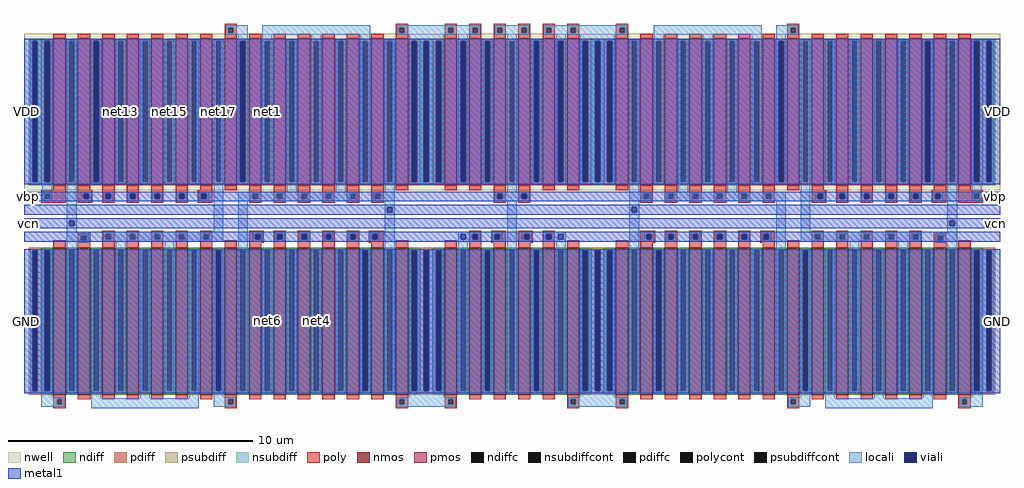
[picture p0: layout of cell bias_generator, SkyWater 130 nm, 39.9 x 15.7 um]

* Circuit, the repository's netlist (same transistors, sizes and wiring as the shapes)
* SPICE3 file created from bias_generator.ext - technology: sky130A


* Top level circuit bias_generator

X0 VDD vbp vbp VDD sky130_fd_pr__pfet_01v8 ad=4.2e+13p pd=1.82e+08u as=3e+12p ps=1.3e+07u w=6e+06u l=500000u
X1 vcn vbp VDD VDD sky130_fd_pr__pfet_01v8 ad=6e+12p pd=2.6e+07u as=0p ps=0u w=6e+06u l=500000u
X2 net5 vbn net6 GND sky130_fd_pr__nfet_01v8 ad=3e+12p pd=1.3e+07u as=3e+12p ps=1.3e+07u w=6e+06u l=500000u
X3 net13 vbp VDD VDD sky130_fd_pr__pfet_01v8 ad=3e+12p pd=1.3e+07u as=0p ps=0u w=6e+06u l=500000u
X4 a_4700_1620# vcp vcp VDD sky130_fd_pr__pfet_01v8 ad=9e+12p pd=3.9e+07u as=6e+12p ps=2.6e+07u w=6e+06u l=500000u
X5 GND vbn net3 GND sky130_fd_pr__nfet_01v8 ad=3.6e+13p pd=1.56e+08u as=3e+12p ps=1.3e+07u w=6e+06u l=500000u
X6 a_4900_n90# vbn GND GND sky130_fd_pr__nfet_01v8 ad=3e+12p pd=1.3e+07u as=0p ps=0u w=6e+06u l=500000u
X7 a_5500_n90# vbn a_5300_n90# GND sky130_fd_pr__nfet_01v8 ad=3e+12p pd=1.3e+07u as=3e+12p ps=1.3e+07u w=6e+06u l=500000u
X8 VDD a_4800_1480# a_4700_1620# VDD sky130_fd_pr__pfet_01v8 ad=0p pd=0u as=0p ps=0u w=6e+06u l=500000u
X9 a_6100_n90# a_5900_1620# GND GND sky130_fd_pr__nfet_01v8 ad=9e+12p pd=3.9e+07u as=0p ps=0u w=6e+06u l=500000u
X10 a_6700_1620# vbp a_6500_1620# VDD sky130_fd_pr__pfet_01v8 ad=3e+12p pd=1.3e+07u as=3e+12p ps=1.3e+07u w=6e+06u l=500000u
X11 net1 net2 VDD VDD sky130_fd_pr__pfet_01v8 ad=9e+12p pd=3.9e+07u as=0p ps=0u w=6e+06u l=500000u
X12 net2 GND GND GND sky130_fd_pr__nfet_01v8 ad=3e+12p pd=1.3e+07u as=0p ps=0u w=6e+06u l=500000u
X13 vbn vbn GND GND sky130_fd_pr__nfet_01v8 ad=6e+12p pd=2.6e+07u as=0p ps=0u w=6e+06u l=500000u
X14 vcp vcp net1 VDD sky130_fd_pr__pfet_01v8 ad=0p pd=0u as=0p ps=0u w=6e+06u l=500000u
X15 vcp GND GND GND sky130_fd_pr__nfet_01v8 ad=6e+12p pd=2.6e+07u as=0p ps=0u w=6e+06u l=500000u
X16 a_5100_n90# vbn a_4900_n90# GND sky130_fd_pr__nfet_01v8 ad=3e+12p pd=1.3e+07u as=0p ps=0u w=6e+06u l=500000u
X17 net24 vbp net15 VDD sky130_fd_pr__pfet_01v8 ad=3e+12p pd=1.3e+07u as=3e+12p ps=1.3e+07u w=6e+06u l=500000u
X18 vbp vbp VDD VDD sky130_fd_pr__pfet_01v8 ad=0p pd=0u as=0p ps=0u w=6e+06u l=500000u
X19 vcn VDD VDD VDD sky130_fd_pr__pfet_01v8 ad=0p pd=0u as=0p ps=0u w=6e+06u l=500000u
X20 vcp VDD VDD VDD sky130_fd_pr__pfet_01v8 ad=0p pd=0u as=0p ps=0u w=6e+06u l=500000u
X21 vbp vbn GND GND sky130_fd_pr__nfet_01v8 ad=3e+12p pd=1.3e+07u as=0p ps=0u w=6e+06u l=500000u
X22 a_4700_1620# a_4800_1480# a_4800_1480# VDD sky130_fd_pr__pfet_01v8 ad=0p pd=0u as=6e+12p ps=2.6e+07u w=6e+06u l=500000u
X23 net17 net17 a_100_n90# GND sky130_fd_pr__nfet_01v8 ad=6e+12p pd=2.6e+07u as=9e+12p ps=3.9e+07u w=6e+06u l=500000u
X24 GND GND vbn GND sky130_fd_pr__nfet_01v8 ad=0p pd=0u as=0p ps=0u w=6e+06u l=500000u
X25 a_5900_1620# a_5900_1620# a_6100_n90# GND sky130_fd_pr__nfet_01v8 ad=6e+12p pd=2.6e+07u as=0p ps=0u w=6e+06u l=500000u
X26 a_6500_1620# vbp a_6300_1620# VDD sky130_fd_pr__pfet_01v8 ad=0p pd=0u as=3e+12p ps=1.3e+07u w=6e+06u l=500000u
X27 GND GND vcn GND sky130_fd_pr__nfet_01v8 ad=0p pd=0u as=6e+12p ps=2.6e+07u w=6e+06u l=500000u
X28 VDD vbp vcn VDD sky130_fd_pr__pfet_01v8 ad=0p pd=0u as=0p ps=0u w=6e+06u l=500000u
X29 VDD VDD net17 VDD sky130_fd_pr__pfet_01v8 ad=0p pd=0u as=3e+12p ps=1.3e+07u w=6e+06u l=500000u
X30 net4 vbn net5 GND sky130_fd_pr__nfet_01v8 ad=3e+12p pd=1.3e+07u as=0p ps=0u w=6e+06u l=500000u
X31 net1 net2 net2 VDD sky130_fd_pr__pfet_01v8 ad=0p pd=0u as=6e+12p ps=2.6e+07u w=6e+06u l=500000u
X32 vcp vbn GND GND sky130_fd_pr__nfet_01v8 ad=0p pd=0u as=0p ps=0u w=6e+06u l=500000u
X33 vbn GND GND GND sky130_fd_pr__nfet_01v8 ad=0p pd=0u as=0p ps=0u w=6e+06u l=500000u
X34 a_4800_1480# vbn a_5500_n90# GND sky130_fd_pr__nfet_01v8 ad=3e+12p pd=1.3e+07u as=0p ps=0u w=6e+06u l=500000u
X35 VDD VDD VDD VDD sky130_fd_pr__pfet_01v8 ad=0p pd=0u as=0p ps=0u w=6e+06u l=500000u
X36 net17 net17 a_100_n90# GND sky130_fd_pr__nfet_01v8 ad=0p pd=0u as=0p ps=0u w=6e+06u l=500000u
X37 a_5900_1620# a_5900_1620# a_6100_n90# GND sky130_fd_pr__nfet_01v8 ad=0p pd=0u as=0p ps=0u w=6e+06u l=500000u
X38 net15 vbp net14 VDD sky130_fd_pr__pfet_01v8 ad=0p pd=0u as=3e+12p ps=1.3e+07u w=6e+06u l=500000u
X39 net6 vbn net2 GND sky130_fd_pr__nfet_01v8 ad=0p pd=0u as=0p ps=0u w=6e+06u l=500000u
X40 a_4800_1480# a_4800_1480# a_4700_1620# VDD sky130_fd_pr__pfet_01v8 ad=0p pd=0u as=0p ps=0u w=6e+06u l=500000u
X41 net3 vbn net4 GND sky130_fd_pr__nfet_01v8 ad=0p pd=0u as=0p ps=0u w=6e+06u l=500000u
X42 GND vbn vcp GND sky130_fd_pr__nfet_01v8 ad=0p pd=0u as=0p ps=0u w=6e+06u l=500000u
X43 net1 net2 net2 VDD sky130_fd_pr__pfet_01v8 ad=0p pd=0u as=0p ps=0u w=6e+06u l=500000u
X44 a_5300_n90# vbn a_5100_n90# GND sky130_fd_pr__nfet_01v8 ad=0p pd=0u as=0p ps=0u w=6e+06u l=500000u
X45 net17 vbp net24 VDD sky130_fd_pr__pfet_01v8 ad=0p pd=0u as=0p ps=0u w=6e+06u l=500000u
X46 a_6300_1620# vbp a_6100_1620# VDD sky130_fd_pr__pfet_01v8 ad=0p pd=0u as=3e+12p ps=1.3e+07u w=6e+06u l=500000u
X47 a_100_n90# vcn vcn GND sky130_fd_pr__nfet_01v8 ad=0p pd=0u as=0p ps=0u w=6e+06u l=500000u
X48 VDD VDD vcn VDD sky130_fd_pr__pfet_01v8 ad=0p pd=0u as=0p ps=0u w=6e+06u l=500000u
X49 net2 net2 net1 VDD sky130_fd_pr__pfet_01v8 ad=0p pd=0u as=0p ps=0u w=6e+06u l=500000u
X50 VDD VDD VDD VDD sky130_fd_pr__pfet_01v8 ad=0p pd=0u as=0p ps=0u w=6e+06u l=500000u
X51 GND net17 a_100_n90# GND sky130_fd_pr__nfet_01v8 ad=0p pd=0u as=0p ps=0u w=6e+06u l=500000u
X52 GND vbn vbp GND sky130_fd_pr__nfet_01v8 ad=0p pd=0u as=0p ps=0u w=6e+06u l=500000u
X53 VDD VDD VDD VDD sky130_fd_pr__pfet_01v8 ad=0p pd=0u as=0p ps=0u w=6e+06u l=500000u
X54 a_100_n90# net17 net17 GND sky130_fd_pr__nfet_01v8 ad=0p pd=0u as=0p ps=0u w=6e+06u l=500000u
X55 a_6100_n90# a_5900_1620# a_5900_1620# GND sky130_fd_pr__nfet_01v8 ad=0p pd=0u as=0p ps=0u w=6e+06u l=500000u
X56 net14 vbp net13 VDD sky130_fd_pr__pfet_01v8 ad=0p pd=0u as=0p ps=0u w=6e+06u l=500000u
X57 a_4800_1480# a_4800_1480# a_4700_1620# VDD sky130_fd_pr__pfet_01v8 ad=0p pd=0u as=0p ps=0u w=6e+06u l=500000u
X58 VDD VDD VDD VDD sky130_fd_pr__pfet_01v8 ad=0p pd=0u as=0p ps=0u w=6e+06u l=500000u
X59 a_5900_1620# VDD VDD VDD sky130_fd_pr__pfet_01v8 ad=3e+12p pd=1.3e+07u as=0p ps=0u w=6e+06u l=500000u
X60 vcn GND GND GND sky130_fd_pr__nfet_01v8 ad=0p pd=0u as=0p ps=0u w=6e+06u l=500000u
X61 a_4700_1620# a_4800_1480# a_4800_1480# VDD sky130_fd_pr__pfet_01v8 ad=0p pd=0u as=0p ps=0u w=6e+06u l=500000u
X62 net2 net2 net1 VDD sky130_fd_pr__pfet_01v8 ad=0p pd=0u as=0p ps=0u w=6e+06u l=500000u
X63 VDD vbp a_6700_1620# VDD sky130_fd_pr__pfet_01v8 ad=0p pd=0u as=0p ps=0u w=6e+06u l=500000u
X64 GND GND vcp GND sky130_fd_pr__nfet_01v8 ad=0p pd=0u as=0p ps=0u w=6e+06u l=500000u
X65 GND vbn vbn GND sky130_fd_pr__nfet_01v8 ad=0p pd=0u as=0p ps=0u w=6e+06u l=500000u
X66 a_6100_1620# vbp a_5900_1620# VDD sky130_fd_pr__pfet_01v8 ad=0p pd=0u as=0p ps=0u w=6e+06u l=500000u
X67 a_100_n90# net17 net17 GND sky130_fd_pr__nfet_01v8 ad=0p pd=0u as=0p ps=0u w=6e+06u l=500000u
X68 GND GND a_4800_1480# GND sky130_fd_pr__nfet_01v8 ad=0p pd=0u as=0p ps=0u w=6e+06u l=500000u
X69 a_6100_n90# a_5900_1620# a_5900_1620# GND sky130_fd_pr__nfet_01v8 ad=0p pd=0u as=0p ps=0u w=6e+06u l=500000u
X70 VDD VDD vcp VDD sky130_fd_pr__pfet_01v8 ad=0p pd=0u as=0p ps=0u w=6e+06u l=500000u
X71 vcn vcn a_6100_n90# GND sky130_fd_pr__nfet_01v8 ad=0p pd=0u as=0p ps=0u w=6e+06u l=500000u
.end

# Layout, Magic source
magic
tech sky130A
<< nwell >>
rect -220 790 3770 1430
<< nmos >>
rect -100 -45 -50 555
rect 0 -45 50 555
rect 100 -45 150 555
rect 200 -45 250 555
rect 300 -45 350 555
rect 400 -45 450 555
rect 500 -45 550 555
rect 600 -45 650 555
rect 700 -45 750 555
rect 800 -45 850 555
rect 900 -45 950 555
rect 1000 -45 1050 555
rect 1100 -45 1150 555
rect 1200 -45 1250 555
rect 1300 -45 1350 555
rect 1500 -45 1550 555
rect 1600 -45 1650 555
rect 1700 -45 1750 555
rect 1800 -45 1850 555
rect 1900 -45 1950 555
rect 2000 -45 2050 555
rect 2200 -45 2250 555
rect 2300 -45 2350 555
rect 2400 -45 2450 555
rect 2500 -45 2550 555
rect 2600 -45 2650 555
rect 2700 -45 2750 555
rect 2800 -45 2850 555
rect 2900 -45 2950 555
rect 3000 -45 3050 555
rect 3100 -45 3150 555
rect 3200 -45 3250 555
rect 3300 -45 3350 555
rect 3400 -45 3450 555
rect 3500 -45 3550 555
rect 3600 -45 3650 555
<< pmos >>
rect -100 810 -50 1410
rect 0 810 50 1410
rect 100 810 150 1410
rect 200 810 250 1410
rect 300 810 350 1410
rect 400 810 450 1410
rect 500 810 550 1410
rect 600 810 650 1410
rect 700 810 750 1410
rect 800 810 850 1410
rect 900 810 950 1410
rect 1000 810 1050 1410
rect 1100 810 1150 1410
rect 1200 810 1250 1410
rect 1300 810 1350 1410
rect 1500 810 1550 1410
rect 1600 810 1650 1410
rect 1700 810 1750 1410
rect 1800 810 1850 1410
rect 1900 810 1950 1410
rect 2000 810 2050 1410
rect 2200 810 2250 1410
rect 2300 810 2350 1410
rect 2400 810 2450 1410
rect 2500 810 2550 1410
rect 2600 810 2650 1410
rect 2700 810 2750 1410
rect 2800 810 2850 1410
rect 2900 810 2950 1410
rect 3000 810 3050 1410
rect 3100 810 3150 1410
rect 3200 810 3250 1410
rect 3300 810 3350 1410
rect 3400 810 3450 1410
rect 3500 810 3550 1410
rect 3600 810 3650 1410
<< ndiff >>
rect -150 545 -100 555
rect -150 -30 -135 545
rect -115 -30 -100 545
rect -150 -45 -100 -30
rect -50 545 0 555
rect -50 -30 -35 545
rect -15 -30 0 545
rect -50 -45 0 -30
rect 50 545 100 555
rect 50 -30 65 545
rect 85 -30 100 545
rect 50 -45 100 -30
rect 150 545 200 555
rect 150 -30 165 545
rect 185 -30 200 545
rect 150 -45 200 -30
rect 250 545 300 555
rect 250 -30 265 545
rect 285 -30 300 545
rect 250 -45 300 -30
rect 350 545 400 555
rect 350 -30 365 545
rect 385 -30 400 545
rect 350 -45 400 -30
rect 450 545 500 555
rect 450 -30 465 545
rect 485 -30 500 545
rect 450 -45 500 -30
rect 550 545 600 555
rect 550 -30 565 545
rect 585 -30 600 545
rect 550 -45 600 -30
rect 650 545 700 555
rect 650 -30 665 545
rect 685 -30 700 545
rect 650 -45 700 -30
rect 750 545 800 555
rect 750 -30 765 545
rect 785 -30 800 545
rect 750 -45 800 -30
rect 850 545 900 555
rect 850 -30 865 545
rect 885 -30 900 545
rect 850 -45 900 -30
rect 950 545 1000 555
rect 950 -30 965 545
rect 985 -30 1000 545
rect 950 -45 1000 -30
rect 1050 545 1100 555
rect 1050 -30 1065 545
rect 1085 -30 1100 545
rect 1050 -45 1100 -30
rect 1150 545 1200 555
rect 1150 -30 1165 545
rect 1185 -30 1200 545
rect 1150 -45 1200 -30
rect 1250 545 1300 555
rect 1250 -30 1265 545
rect 1285 -30 1300 545
rect 1250 -45 1300 -30
rect 1350 545 1400 555
rect 1450 545 1500 555
rect 1350 -30 1365 545
rect 1385 -30 1400 545
rect 1450 -30 1465 545
rect 1485 -30 1500 545
rect 1350 -45 1400 -30
rect 1450 -45 1500 -30
rect 1550 545 1600 555
rect 1550 -30 1565 545
rect 1585 -30 1600 545
rect 1550 -45 1600 -30
rect 1650 545 1700 555
rect 1650 -30 1665 545
rect 1685 -30 1700 545
rect 1650 -45 1700 -30
rect 1750 545 1800 555
rect 1750 -30 1765 545
rect 1785 -30 1800 545
rect 1750 -45 1800 -30
rect 1850 545 1900 555
rect 1850 -30 1865 545
rect 1885 -30 1900 545
rect 1850 -45 1900 -30
rect 1950 545 2000 555
rect 1950 -30 1965 545
rect 1985 -30 2000 545
rect 1950 -45 2000 -30
rect 2050 545 2100 555
rect 2150 545 2200 555
rect 2050 -30 2065 545
rect 2085 -30 2100 545
rect 2150 -30 2165 545
rect 2185 -30 2200 545
rect 2050 -45 2100 -30
rect 2150 -45 2200 -30
rect 2250 545 2300 555
rect 2250 -30 2265 545
rect 2285 -30 2300 545
rect 2250 -45 2300 -30
rect 2350 545 2400 555
rect 2350 -30 2365 545
rect 2385 -30 2400 545
rect 2350 -45 2400 -30
rect 2450 545 2500 555
rect 2450 -30 2465 545
rect 2485 -30 2500 545
rect 2450 -45 2500 -30
rect 2550 545 2600 555
rect 2550 -30 2565 545
rect 2585 -30 2600 545
rect 2550 -45 2600 -30
rect 2650 545 2700 555
rect 2650 -30 2665 545
rect 2685 -30 2700 545
rect 2650 -45 2700 -30
rect 2750 545 2800 555
rect 2750 -30 2765 545
rect 2785 -30 2800 545
rect 2750 -45 2800 -30
rect 2850 545 2900 555
rect 2850 -30 2865 545
rect 2885 -30 2900 545
rect 2850 -45 2900 -30
rect 2950 545 3000 555
rect 2950 -30 2965 545
rect 2985 -30 3000 545
rect 2950 -45 3000 -30
rect 3050 545 3100 555
rect 3050 -30 3065 545
rect 3085 -30 3100 545
rect 3050 -45 3100 -30
rect 3150 545 3200 555
rect 3150 -30 3165 545
rect 3185 -30 3200 545
rect 3150 -45 3200 -30
rect 3250 545 3300 555
rect 3250 -30 3265 545
rect 3285 -30 3300 545
rect 3250 -45 3300 -30
rect 3350 545 3400 555
rect 3350 -30 3365 545
rect 3385 -30 3400 545
rect 3350 -45 3400 -30
rect 3450 545 3500 555
rect 3450 -30 3465 545
rect 3485 -30 3500 545
rect 3450 -45 3500 -30
rect 3550 545 3600 555
rect 3550 -30 3565 545
rect 3585 -30 3600 545
rect 3550 -45 3600 -30
rect 3650 545 3700 555
rect 3650 -30 3665 545
rect 3685 -30 3700 545
rect 3650 -45 3700 -30
<< pdiff >>
rect -150 1400 -100 1410
rect -150 825 -135 1400
rect -115 825 -100 1400
rect -150 810 -100 825
rect -50 1400 0 1410
rect -50 825 -35 1400
rect -15 825 0 1400
rect -50 810 0 825
rect 50 1400 100 1410
rect 50 825 65 1400
rect 85 825 100 1400
rect 50 810 100 825
rect 150 1400 200 1410
rect 150 825 165 1400
rect 185 825 200 1400
rect 150 810 200 825
rect 250 1400 300 1410
rect 250 825 265 1400
rect 285 825 300 1400
rect 250 810 300 825
rect 350 1400 400 1410
rect 350 825 365 1400
rect 385 825 400 1400
rect 350 810 400 825
rect 450 1400 500 1410
rect 450 825 465 1400
rect 485 825 500 1400
rect 450 810 500 825
rect 550 1400 600 1410
rect 550 825 565 1400
rect 585 825 600 1400
rect 550 810 600 825
rect 650 1400 700 1410
rect 650 825 665 1400
rect 685 825 700 1400
rect 650 810 700 825
rect 750 1400 800 1410
rect 750 825 765 1400
rect 785 825 800 1400
rect 750 810 800 825
rect 850 1400 900 1410
rect 850 825 865 1400
rect 885 825 900 1400
rect 850 810 900 825
rect 950 1400 1000 1410
rect 950 825 965 1400
rect 985 825 1000 1400
rect 950 810 1000 825
rect 1050 1400 1100 1410
rect 1050 825 1065 1400
rect 1085 825 1100 1400
rect 1050 810 1100 825
rect 1150 1400 1200 1410
rect 1150 825 1165 1400
rect 1185 825 1200 1400
rect 1150 810 1200 825
rect 1250 1400 1300 1410
rect 1250 825 1265 1400
rect 1285 825 1300 1400
rect 1250 810 1300 825
rect 1350 1400 1400 1410
rect 1450 1400 1500 1410
rect 1350 825 1365 1400
rect 1385 825 1400 1400
rect 1450 825 1465 1400
rect 1485 825 1500 1400
rect 1350 810 1400 825
rect 1450 810 1500 825
rect 1550 1400 1600 1410
rect 1550 825 1565 1400
rect 1585 825 1600 1400
rect 1550 810 1600 825
rect 1650 1400 1700 1410
rect 1650 825 1665 1400
rect 1685 825 1700 1400
rect 1650 810 1700 825
rect 1750 1400 1800 1410
rect 1750 825 1765 1400
rect 1785 825 1800 1400
rect 1750 810 1800 825
rect 1850 1400 1900 1410
rect 1850 825 1865 1400
rect 1885 825 1900 1400
rect 1850 810 1900 825
rect 1950 1400 2000 1410
rect 1950 825 1965 1400
rect 1985 825 2000 1400
rect 1950 810 2000 825
rect 2050 1400 2100 1410
rect 2150 1400 2200 1410
rect 2050 825 2065 1400
rect 2085 825 2100 1400
rect 2150 825 2165 1400
rect 2185 825 2200 1400
rect 2050 810 2100 825
rect 2150 810 2200 825
rect 2250 1400 2300 1410
rect 2250 825 2265 1400
rect 2285 825 2300 1400
rect 2250 810 2300 825
rect 2350 1400 2400 1410
rect 2350 825 2365 1400
rect 2385 825 2400 1400
rect 2350 810 2400 825
rect 2450 1400 2500 1410
rect 2450 825 2465 1400
rect 2485 825 2500 1400
rect 2450 810 2500 825
rect 2550 1400 2600 1410
rect 2550 825 2565 1400
rect 2585 825 2600 1400
rect 2550 810 2600 825
rect 2650 1400 2700 1410
rect 2650 825 2665 1400
rect 2685 825 2700 1400
rect 2650 810 2700 825
rect 2750 1400 2800 1410
rect 2750 825 2765 1400
rect 2785 825 2800 1400
rect 2750 810 2800 825
rect 2850 1400 2900 1410
rect 2850 825 2865 1400
rect 2885 825 2900 1400
rect 2850 810 2900 825
rect 2950 1400 3000 1410
rect 2950 825 2965 1400
rect 2985 825 3000 1400
rect 2950 810 3000 825
rect 3050 1400 3100 1410
rect 3050 825 3065 1400
rect 3085 825 3100 1400
rect 3050 810 3100 825
rect 3150 1400 3200 1410
rect 3150 825 3165 1400
rect 3185 825 3200 1400
rect 3150 810 3200 825
rect 3250 1400 3300 1410
rect 3250 825 3265 1400
rect 3285 825 3300 1400
rect 3250 810 3300 825
rect 3350 1400 3400 1410
rect 3350 825 3365 1400
rect 3385 825 3400 1400
rect 3350 810 3400 825
rect 3450 1400 3500 1410
rect 3450 825 3465 1400
rect 3485 825 3500 1400
rect 3450 810 3500 825
rect 3550 1400 3600 1410
rect 3550 825 3565 1400
rect 3585 825 3600 1400
rect 3550 810 3600 825
rect 3650 1400 3700 1410
rect 3650 825 3665 1400
rect 3685 825 3700 1400
rect 3650 810 3700 825
<< ndiffc >>
rect -135 -30 -115 545
rect -35 -30 -15 545
rect 65 -30 85 545
rect 165 -30 185 545
rect 265 -30 285 545
rect 365 -30 385 545
rect 465 -30 485 545
rect 565 -30 585 545
rect 665 -30 685 545
rect 765 -30 785 545
rect 865 -30 885 545
rect 965 -30 985 545
rect 1065 -30 1085 545
rect 1165 -30 1185 545
rect 1265 -30 1285 545
rect 1365 -30 1385 545
rect 1465 -30 1485 545
rect 1565 -30 1585 545
rect 1665 -30 1685 545
rect 1765 -30 1785 545
rect 1865 -30 1885 545
rect 1965 -30 1985 545
rect 2065 -30 2085 545
rect 2165 -30 2185 545
rect 2265 -30 2285 545
rect 2365 -30 2385 545
rect 2465 -30 2485 545
rect 2565 -30 2585 545
rect 2665 -30 2685 545
rect 2765 -30 2785 545
rect 2865 -30 2885 545
rect 2965 -30 2985 545
rect 3065 -30 3085 545
rect 3165 -30 3185 545
rect 3265 -30 3285 545
rect 3365 -30 3385 545
rect 3465 -30 3485 545
rect 3565 -30 3585 545
rect 3665 -30 3685 545
<< pdiffc >>
rect -135 825 -115 1400
rect -35 825 -15 1400
rect 65 825 85 1400
rect 165 825 185 1400
rect 265 825 285 1400
rect 365 825 385 1400
rect 465 825 485 1400
rect 565 825 585 1400
rect 665 825 685 1400
rect 765 825 785 1400
rect 865 825 885 1400
rect 965 825 985 1400
rect 1065 825 1085 1400
rect 1165 825 1185 1400
rect 1265 825 1285 1400
rect 1365 825 1385 1400
rect 1465 825 1485 1400
rect 1565 825 1585 1400
rect 1665 825 1685 1400
rect 1765 825 1785 1400
rect 1865 825 1885 1400
rect 1965 825 1985 1400
rect 2065 825 2085 1400
rect 2165 825 2185 1400
rect 2265 825 2285 1400
rect 2365 825 2385 1400
rect 2465 825 2485 1400
rect 2565 825 2585 1400
rect 2665 825 2685 1400
rect 2765 825 2785 1400
rect 2865 825 2885 1400
rect 2965 825 2985 1400
rect 3065 825 3085 1400
rect 3165 825 3185 1400
rect 3265 825 3285 1400
rect 3365 825 3385 1400
rect 3465 825 3485 1400
rect 3565 825 3585 1400
rect 3665 825 3685 1400
<< psubdiff >>
rect -200 545 -150 555
rect -200 -30 -185 545
rect -165 -30 -150 545
rect -200 -45 -150 -30
rect 1400 545 1450 555
rect 1400 -30 1415 545
rect 1435 -30 1450 545
rect 1400 -45 1450 -30
rect 2100 545 2150 555
rect 2100 -30 2115 545
rect 2135 -30 2150 545
rect 2100 -45 2150 -30
rect 3700 545 3750 555
rect 3700 -30 3715 545
rect 3735 -30 3750 545
rect 3700 -45 3750 -30
<< nsubdiff >>
rect -200 1400 -150 1410
rect -200 825 -185 1400
rect -165 825 -150 1400
rect -200 810 -150 825
rect 1400 1400 1450 1410
rect 1400 825 1415 1400
rect 1435 825 1450 1400
rect 1400 810 1450 825
rect 2100 1400 2150 1410
rect 2100 825 2115 1400
rect 2135 825 2150 1400
rect 2100 810 2150 825
rect 3700 1400 3750 1410
rect 3700 825 3715 1400
rect 3735 825 3750 1400
rect 3700 810 3750 825
<< psubdiffcont >>
rect -185 -30 -165 545
rect 1415 -30 1435 545
rect 2115 -30 2135 545
rect 3715 -30 3735 545
<< nsubdiffcont >>
rect -185 825 -165 1400
rect 1415 825 1435 1400
rect 2115 825 2135 1400
rect 3715 825 3735 1400
<< poly >>
rect 600 1455 650 1470
rect 600 1435 615 1455
rect 635 1435 650 1455
rect -100 1410 -50 1430
rect 0 1410 50 1430
rect 100 1410 150 1430
rect 200 1410 250 1430
rect 300 1410 350 1430
rect 400 1410 450 1430
rect 500 1410 550 1430
rect 600 1410 650 1435
rect 1300 1455 1350 1470
rect 1300 1435 1315 1455
rect 1335 1435 1350 1455
rect 700 1410 750 1430
rect 800 1410 850 1430
rect 900 1410 950 1430
rect 1000 1410 1050 1430
rect 1100 1410 1150 1430
rect 1200 1410 1250 1430
rect 1300 1410 1350 1435
rect 1500 1455 1550 1470
rect 1500 1435 1515 1455
rect 1535 1435 1550 1455
rect 1500 1410 1550 1435
rect 1600 1455 1650 1470
rect 1600 1435 1615 1455
rect 1635 1435 1650 1455
rect 1600 1410 1650 1435
rect 1700 1455 1750 1470
rect 1700 1435 1715 1455
rect 1735 1435 1750 1455
rect 1700 1410 1750 1435
rect 1800 1455 1850 1470
rect 1800 1435 1815 1455
rect 1835 1435 1850 1455
rect 1800 1410 1850 1435
rect 1900 1455 1950 1470
rect 1900 1435 1915 1455
rect 1935 1435 1950 1455
rect 1900 1410 1950 1435
rect 2000 1455 2050 1470
rect 2000 1435 2015 1455
rect 2035 1435 2050 1455
rect 2000 1410 2050 1435
rect 2200 1455 2250 1470
rect 2200 1435 2215 1455
rect 2235 1435 2250 1455
rect 2200 1410 2250 1435
rect 2900 1455 2950 1470
rect 2900 1435 2915 1455
rect 2935 1435 2950 1455
rect 2300 1410 2350 1430
rect 2400 1410 2450 1430
rect 2500 1410 2550 1430
rect 2600 1410 2650 1430
rect 2700 1410 2750 1430
rect 2800 1410 2850 1430
rect 2900 1410 2950 1435
rect 3000 1410 3050 1430
rect 3100 1410 3150 1430
rect 3200 1410 3250 1430
rect 3300 1410 3350 1430
rect 3400 1410 3450 1430
rect 3500 1410 3550 1430
rect 3600 1410 3650 1430
rect -100 790 -50 810
rect -150 775 -50 790
rect -150 755 -135 775
rect -115 755 -50 775
rect -150 740 -50 755
rect 0 790 50 810
rect 0 775 60 790
rect 0 755 25 775
rect 45 755 60 775
rect 0 740 60 755
rect 100 775 150 810
rect 100 755 115 775
rect 135 755 150 775
rect 100 740 150 755
rect 200 775 250 810
rect 200 755 215 775
rect 235 755 250 775
rect 200 740 250 755
rect 300 775 350 810
rect 300 755 315 775
rect 335 755 350 775
rect 300 740 350 755
rect 400 775 450 810
rect 500 790 550 810
rect 600 790 650 810
rect 400 755 415 775
rect 435 755 450 775
rect 400 740 450 755
rect 490 775 550 790
rect 490 755 505 775
rect 525 755 550 775
rect 490 740 550 755
rect 700 775 750 810
rect 700 755 715 775
rect 735 755 750 775
rect 700 740 750 755
rect 800 775 850 810
rect 800 755 815 775
rect 835 755 850 775
rect 800 740 850 755
rect 900 775 950 810
rect 900 755 915 775
rect 935 755 950 775
rect 900 740 950 755
rect 1000 775 1050 810
rect 1000 755 1015 775
rect 1035 755 1050 775
rect 1000 740 1050 755
rect 1100 775 1150 810
rect 1100 755 1115 775
rect 1135 755 1150 775
rect 1100 740 1150 755
rect 1200 775 1250 810
rect 1300 790 1350 810
rect 1500 790 1550 810
rect 1600 790 1650 810
rect 1200 755 1215 775
rect 1235 755 1250 775
rect 1200 740 1250 755
rect 1700 775 1750 810
rect 1700 755 1715 775
rect 1735 755 1750 775
rect 1700 740 1750 755
rect 1800 775 1850 810
rect 1900 790 1950 810
rect 2000 790 2050 810
rect 2200 790 2250 810
rect 1800 755 1815 775
rect 1835 755 1850 775
rect 1800 740 1850 755
rect 2300 775 2350 810
rect 2300 755 2315 775
rect 2335 755 2350 775
rect 2300 740 2350 755
rect 2400 775 2450 810
rect 2400 755 2415 775
rect 2435 755 2450 775
rect 2400 740 2450 755
rect 2500 775 2550 810
rect 2500 755 2515 775
rect 2535 755 2550 775
rect 2500 740 2550 755
rect 2600 775 2650 810
rect 2600 755 2615 775
rect 2635 755 2650 775
rect 2600 740 2650 755
rect 2700 775 2750 810
rect 2700 755 2715 775
rect 2735 755 2750 775
rect 2700 740 2750 755
rect 2800 775 2850 810
rect 2900 790 2950 810
rect 3000 790 3050 810
rect 2800 755 2815 775
rect 2835 755 2850 775
rect 2800 740 2850 755
rect 3000 775 3060 790
rect 3000 755 3025 775
rect 3045 755 3060 775
rect 3000 740 3060 755
rect 3100 775 3150 810
rect 3100 755 3115 775
rect 3135 755 3150 775
rect 3100 740 3150 755
rect 3200 775 3250 810
rect 3200 755 3215 775
rect 3235 755 3250 775
rect 3200 740 3250 755
rect 3300 775 3350 810
rect 3300 755 3315 775
rect 3335 755 3350 775
rect 3300 740 3350 755
rect 3400 775 3450 810
rect 3500 790 3550 810
rect 3400 755 3415 775
rect 3435 755 3450 775
rect 3400 740 3450 755
rect 3490 775 3550 790
rect 3490 755 3505 775
rect 3525 755 3550 775
rect 3490 740 3550 755
rect 3600 790 3650 810
rect 3600 775 3700 790
rect 3600 755 3665 775
rect 3685 755 3700 775
rect 3600 740 3700 755
rect 0 605 50 620
rect 0 585 15 605
rect 35 585 50 605
rect -100 555 -50 585
rect 0 555 50 585
rect 100 610 150 625
rect 100 590 115 610
rect 135 590 150 610
rect 100 555 150 590
rect 200 610 250 625
rect 200 590 215 610
rect 235 590 250 610
rect 200 555 250 590
rect 300 610 350 625
rect 300 590 315 610
rect 335 590 350 610
rect 300 555 350 590
rect 400 610 450 625
rect 400 590 415 610
rect 435 590 450 610
rect 400 555 450 590
rect 500 610 550 625
rect 500 590 515 610
rect 535 590 550 610
rect 500 555 550 590
rect 700 610 760 625
rect 700 590 725 610
rect 745 590 760 610
rect 600 555 650 585
rect 700 575 760 590
rect 800 610 850 625
rect 800 590 815 610
rect 835 590 850 610
rect 700 555 750 575
rect 800 555 850 590
rect 900 610 950 625
rect 900 590 915 610
rect 935 590 950 610
rect 900 555 950 590
rect 1000 610 1050 625
rect 1000 590 1015 610
rect 1035 590 1050 610
rect 1000 555 1050 590
rect 1100 610 1150 625
rect 1100 590 1115 610
rect 1135 590 1150 610
rect 1100 555 1150 590
rect 1190 610 1250 625
rect 1190 590 1205 610
rect 1225 590 1250 610
rect 1190 575 1250 590
rect 1600 610 1650 625
rect 1600 590 1615 610
rect 1635 590 1650 610
rect 1200 555 1250 575
rect 1300 555 1350 585
rect 1500 555 1550 585
rect 1600 555 1650 590
rect 1690 610 1750 625
rect 1690 590 1705 610
rect 1725 590 1750 610
rect 1690 575 1750 590
rect 1700 555 1750 575
rect 1800 610 1860 625
rect 1800 590 1825 610
rect 1845 590 1860 610
rect 1800 575 1860 590
rect 1900 610 1950 625
rect 1900 590 1915 610
rect 1935 590 1950 610
rect 1800 555 1850 575
rect 1900 555 1950 590
rect 2300 610 2360 625
rect 2300 590 2325 610
rect 2345 590 2360 610
rect 2000 555 2050 585
rect 2200 555 2250 585
rect 2300 575 2360 590
rect 2400 610 2450 625
rect 2400 590 2415 610
rect 2435 590 2450 610
rect 2300 555 2350 575
rect 2400 555 2450 590
rect 2500 610 2550 625
rect 2500 590 2515 610
rect 2535 590 2550 610
rect 2500 555 2550 590
rect 2600 610 2650 625
rect 2600 590 2615 610
rect 2635 590 2650 610
rect 2600 555 2650 590
rect 2700 610 2750 625
rect 2700 590 2715 610
rect 2735 590 2750 610
rect 2700 555 2750 590
rect 2790 610 2850 625
rect 2790 590 2805 610
rect 2825 590 2850 610
rect 2790 575 2850 590
rect 3000 610 3050 625
rect 3000 590 3015 610
rect 3035 590 3050 610
rect 2800 555 2850 575
rect 2900 555 2950 585
rect 3000 555 3050 590
rect 3100 610 3150 625
rect 3100 590 3115 610
rect 3135 590 3150 610
rect 3100 555 3150 590
rect 3200 610 3250 625
rect 3200 590 3215 610
rect 3235 590 3250 610
rect 3200 555 3250 590
rect 3300 610 3350 625
rect 3300 590 3315 610
rect 3335 590 3350 610
rect 3300 555 3350 590
rect 3400 610 3450 625
rect 3400 590 3415 610
rect 3435 590 3450 610
rect 3400 555 3450 590
rect 3500 605 3550 620
rect 3500 585 3515 605
rect 3535 585 3550 605
rect 3500 555 3550 585
rect 3600 555 3650 585
rect -100 -65 -50 -45
rect 0 -65 50 -45
rect 100 -65 150 -45
rect 200 -65 250 -45
rect 300 -65 350 -45
rect 400 -65 450 -45
rect 500 -65 550 -45
rect 600 -65 650 -45
rect 700 -65 750 -45
rect 800 -65 850 -45
rect 900 -65 950 -45
rect 1000 -65 1050 -45
rect 1100 -65 1150 -45
rect 1200 -65 1250 -45
rect 1300 -65 1350 -45
rect -100 -85 -85 -65
rect -65 -85 -50 -65
rect -100 -100 -50 -85
rect 600 -85 615 -65
rect 635 -85 650 -65
rect 600 -100 650 -85
rect 1300 -85 1315 -65
rect 1335 -85 1350 -65
rect 1300 -100 1350 -85
rect 1500 -65 1550 -45
rect 1600 -65 1650 -45
rect 1700 -65 1750 -45
rect 1800 -65 1850 -45
rect 1900 -65 1950 -45
rect 2000 -65 2050 -45
rect 1500 -85 1515 -65
rect 1535 -85 1550 -65
rect 1500 -100 1550 -85
rect 2000 -85 2015 -65
rect 2035 -85 2050 -65
rect 2000 -100 2050 -85
rect 2200 -65 2250 -45
rect 2300 -65 2350 -45
rect 2400 -65 2450 -45
rect 2500 -65 2550 -45
rect 2600 -65 2650 -45
rect 2700 -65 2750 -45
rect 2800 -65 2850 -45
rect 2900 -65 2950 -45
rect 3000 -65 3050 -45
rect 3100 -65 3150 -45
rect 3200 -65 3250 -45
rect 3300 -65 3350 -45
rect 3400 -65 3450 -45
rect 3500 -65 3550 -45
rect 3600 -65 3650 -45
rect 2200 -85 2215 -65
rect 2235 -85 2250 -65
rect 2200 -100 2250 -85
rect 2900 -85 2915 -65
rect 2935 -85 2950 -65
rect 2900 -100 2950 -85
rect 3600 -85 3615 -65
rect 3635 -85 3650 -65
rect 3600 -100 3650 -85
<< polycont >>
rect 615 1435 635 1455
rect 1315 1435 1335 1455
rect 1515 1435 1535 1455
rect 1615 1435 1635 1455
rect 1715 1435 1735 1455
rect 1815 1435 1835 1455
rect 1915 1435 1935 1455
rect 2015 1435 2035 1455
rect 2215 1435 2235 1455
rect 2915 1435 2935 1455
rect -135 755 -115 775
rect 25 755 45 775
rect 115 755 135 775
rect 215 755 235 775
rect 315 755 335 775
rect 415 755 435 775
rect 505 755 525 775
rect 715 755 735 775
rect 815 755 835 775
rect 915 755 935 775
rect 1015 755 1035 775
rect 1115 755 1135 775
rect 1215 755 1235 775
rect 1715 755 1735 775
rect 1815 755 1835 775
rect 2315 755 2335 775
rect 2415 755 2435 775
rect 2515 755 2535 775
rect 2615 755 2635 775
rect 2715 755 2735 775
rect 2815 755 2835 775
rect 3025 755 3045 775
rect 3115 755 3135 775
rect 3215 755 3235 775
rect 3315 755 3335 775
rect 3415 755 3435 775
rect 3505 755 3525 775
rect 3665 755 3685 775
rect 15 585 35 605
rect 115 590 135 610
rect 215 590 235 610
rect 315 590 335 610
rect 415 590 435 610
rect 515 590 535 610
rect 725 590 745 610
rect 815 590 835 610
rect 915 590 935 610
rect 1015 590 1035 610
rect 1115 590 1135 610
rect 1205 590 1225 610
rect 1615 590 1635 610
rect 1705 590 1725 610
rect 1825 590 1845 610
rect 1915 590 1935 610
rect 2325 590 2345 610
rect 2415 590 2435 610
rect 2515 590 2535 610
rect 2615 590 2635 610
rect 2715 590 2735 610
rect 2805 590 2825 610
rect 3015 590 3035 610
rect 3115 590 3135 610
rect 3215 590 3235 610
rect 3315 590 3335 610
rect 3415 590 3435 610
rect 3515 585 3535 605
rect -85 -85 -65 -65
rect 615 -85 635 -65
rect 1315 -85 1335 -65
rect 1515 -85 1535 -65
rect 2015 -85 2035 -65
rect 2215 -85 2235 -65
rect 2915 -85 2935 -65
rect 3615 -85 3635 -65
<< locali >>
rect 605 1455 695 1465
rect 605 1435 615 1455
rect 635 1435 695 1455
rect 605 1425 695 1435
rect -195 1400 -105 1405
rect -195 825 -185 1400
rect -165 825 -135 1400
rect -115 825 -105 1400
rect -195 815 -105 825
rect -145 775 -105 815
rect -145 755 -135 775
rect -115 755 -105 775
rect -145 745 -105 755
rect -45 1400 -5 1405
rect -45 825 -35 1400
rect -15 825 -5 1400
rect -45 665 -5 825
rect 55 1400 95 1405
rect 55 825 65 1400
rect 85 825 95 1400
rect 55 815 95 825
rect 155 1400 195 1405
rect 155 825 165 1400
rect 185 825 195 1400
rect 155 815 195 825
rect 255 1400 295 1405
rect 255 825 265 1400
rect 285 825 295 1400
rect 255 815 295 825
rect 355 1400 395 1405
rect 355 825 365 1400
rect 385 825 395 1400
rect 355 815 395 825
rect 455 1400 495 1405
rect 455 825 465 1400
rect 485 825 495 1400
rect 455 815 495 825
rect 555 1400 595 1405
rect 555 825 565 1400
rect 585 825 595 1400
rect 15 775 55 785
rect 15 755 25 775
rect 45 755 55 775
rect 15 745 55 755
rect 105 775 145 785
rect 105 755 115 775
rect 135 755 145 775
rect 105 745 145 755
rect 205 775 245 785
rect 205 755 215 775
rect 235 755 245 775
rect 205 745 245 755
rect 305 775 345 785
rect 305 755 315 775
rect 335 755 345 775
rect 305 745 345 755
rect 405 775 445 785
rect 405 755 415 775
rect 435 755 445 775
rect 405 745 445 755
rect 495 775 535 785
rect 495 755 505 775
rect 525 755 535 775
rect 495 745 535 755
rect -45 645 -35 665
rect -15 645 -5 665
rect -45 615 -5 645
rect 555 620 595 825
rect 655 1400 695 1425
rect 655 825 665 1400
rect 685 825 695 1400
rect 655 815 695 825
rect 755 1425 1195 1465
rect 1305 1455 1645 1465
rect 1305 1435 1315 1455
rect 1335 1435 1515 1455
rect 1535 1435 1615 1455
rect 1635 1435 1645 1455
rect 1305 1425 1645 1435
rect 1705 1455 1845 1465
rect 1705 1435 1715 1455
rect 1735 1435 1815 1455
rect 1835 1435 1845 1455
rect 1705 1425 1845 1435
rect 1905 1455 2245 1465
rect 1905 1435 1915 1455
rect 1935 1435 2015 1455
rect 2035 1435 2215 1455
rect 2235 1435 2245 1455
rect 1905 1425 2245 1435
rect 2355 1425 2795 1465
rect 755 1400 795 1425
rect 755 825 765 1400
rect 785 825 795 1400
rect 755 815 795 825
rect 855 1400 895 1405
rect 855 825 865 1400
rect 885 825 895 1400
rect 855 785 895 825
rect 955 1400 995 1425
rect 955 825 965 1400
rect 985 825 995 1400
rect 955 815 995 825
rect 1055 1400 1095 1405
rect 1055 825 1065 1400
rect 1085 825 1095 1400
rect 1055 785 1095 825
rect 1155 1400 1195 1425
rect 1155 825 1165 1400
rect 1185 825 1195 1400
rect 1155 815 1195 825
rect 1255 1400 1295 1405
rect 1255 825 1265 1400
rect 1285 825 1295 1400
rect 1255 785 1295 825
rect 1355 1400 1495 1425
rect 1355 825 1365 1400
rect 1385 825 1415 1400
rect 1435 825 1465 1400
rect 1485 825 1495 1400
rect 1355 815 1495 825
rect 1555 1400 1595 1425
rect 1555 825 1565 1400
rect 1585 825 1595 1400
rect 1555 815 1595 825
rect 1655 1400 1695 1410
rect 1655 825 1665 1400
rect 1685 825 1695 1400
rect 1655 815 1695 825
rect 1755 1400 1795 1425
rect 1755 825 1765 1400
rect 1785 825 1795 1400
rect 1755 785 1795 825
rect 1855 1400 1895 1410
rect 1855 825 1865 1400
rect 1885 825 1895 1400
rect 1855 815 1895 825
rect 1955 1400 1995 1425
rect 1955 825 1965 1400
rect 1985 825 1995 1400
rect 1955 815 1995 825
rect 2055 1400 2195 1425
rect 2055 825 2065 1400
rect 2085 825 2115 1400
rect 2135 825 2165 1400
rect 2185 825 2195 1400
rect 2055 815 2195 825
rect 2255 1400 2295 1405
rect 2255 825 2265 1400
rect 2285 825 2295 1400
rect 2255 785 2295 825
rect 2355 1400 2395 1425
rect 2355 825 2365 1400
rect 2385 825 2395 1400
rect 2355 815 2395 825
rect 2455 1400 2495 1405
rect 2455 825 2465 1400
rect 2485 825 2495 1400
rect 2455 785 2495 825
rect 2555 1400 2595 1425
rect 2555 825 2565 1400
rect 2585 825 2595 1400
rect 2555 815 2595 825
rect 2655 1400 2695 1405
rect 2655 825 2665 1400
rect 2685 825 2695 1400
rect 2655 785 2695 825
rect 2755 1400 2795 1425
rect 2755 825 2765 1400
rect 2785 825 2795 1400
rect 2755 815 2795 825
rect 2855 1455 2945 1465
rect 2855 1435 2915 1455
rect 2935 1435 2945 1455
rect 2855 1425 2945 1435
rect 2855 1400 2895 1425
rect 2855 825 2865 1400
rect 2885 825 2895 1400
rect 2855 815 2895 825
rect 2955 1400 2995 1405
rect 2955 825 2965 1400
rect 2985 825 2995 1400
rect -45 605 45 615
rect -45 585 15 605
rect 35 585 45 605
rect -45 575 45 585
rect 105 610 595 620
rect 105 590 115 610
rect 135 590 215 610
rect 235 590 315 610
rect 335 590 415 610
rect 435 590 515 610
rect 535 590 595 610
rect 105 580 595 590
rect 655 775 1145 785
rect 655 755 715 775
rect 735 755 815 775
rect 835 755 915 775
rect 935 755 1015 775
rect 1035 755 1115 775
rect 1135 755 1145 775
rect 655 745 1145 755
rect 1205 775 1295 785
rect 1205 755 1215 775
rect 1235 755 1295 775
rect 1205 745 1295 755
rect 1705 775 1845 785
rect 1705 755 1715 775
rect 1735 755 1815 775
rect 1835 755 1845 775
rect 1705 745 1845 755
rect 2255 775 2345 785
rect 2255 755 2315 775
rect 2335 755 2345 775
rect 2255 745 2345 755
rect 2405 775 2895 785
rect 2405 755 2415 775
rect 2435 755 2515 775
rect 2535 755 2615 775
rect 2635 755 2715 775
rect 2735 755 2815 775
rect 2835 755 2895 775
rect 2405 745 2895 755
rect -195 545 -105 550
rect -195 -30 -185 545
rect -165 -30 -135 545
rect -115 -30 -105 545
rect -195 -40 -105 -30
rect -45 545 -5 575
rect -45 -30 -35 545
rect -15 -30 -5 545
rect -45 -40 -5 -30
rect 55 545 95 550
rect 55 -30 65 545
rect 85 -30 95 545
rect -150 -55 -105 -40
rect -150 -65 -55 -55
rect -150 -85 -85 -65
rect -65 -85 -55 -65
rect -150 -95 -55 -85
rect 55 -60 95 -30
rect 155 545 195 580
rect 155 -30 165 545
rect 185 -30 195 545
rect 155 -40 195 -30
rect 255 545 295 550
rect 255 -30 265 545
rect 285 -30 295 545
rect 255 -60 295 -30
rect 355 545 395 580
rect 355 -30 365 545
rect 385 -30 395 545
rect 355 -40 395 -30
rect 455 545 495 550
rect 455 -30 465 545
rect 485 -30 495 545
rect 455 -60 495 -30
rect 55 -100 495 -60
rect 555 545 595 550
rect 555 -30 565 545
rect 585 -30 595 545
rect 555 -55 595 -30
rect 655 545 695 745
rect 1255 720 1295 745
rect 1255 700 1265 720
rect 1285 700 1295 720
rect 715 610 755 620
rect 715 590 725 610
rect 745 590 755 610
rect 715 580 755 590
rect 805 610 845 620
rect 805 590 815 610
rect 835 590 845 610
rect 805 580 845 590
rect 905 610 945 620
rect 905 590 915 610
rect 935 590 945 610
rect 905 580 945 590
rect 1005 610 1045 620
rect 1005 590 1015 610
rect 1035 590 1045 610
rect 1005 580 1045 590
rect 1105 610 1145 620
rect 1105 590 1115 610
rect 1135 590 1145 610
rect 1105 580 1145 590
rect 1195 610 1235 620
rect 1195 590 1205 610
rect 1225 590 1235 610
rect 1195 580 1235 590
rect 655 -30 665 545
rect 685 -30 695 545
rect 655 -40 695 -30
rect 755 545 795 550
rect 755 -30 765 545
rect 785 -30 795 545
rect 755 -40 795 -30
rect 855 545 895 550
rect 855 -30 865 545
rect 885 -30 895 545
rect 855 -40 895 -30
rect 955 545 995 550
rect 955 -30 965 545
rect 985 -30 995 545
rect 955 -40 995 -30
rect 1055 545 1095 550
rect 1055 -30 1065 545
rect 1085 -30 1095 545
rect 1055 -40 1095 -30
rect 1155 545 1195 550
rect 1155 -30 1165 545
rect 1185 -30 1195 545
rect 1155 -40 1195 -30
rect 1255 545 1295 700
rect 1555 610 1645 620
rect 1555 590 1565 610
rect 1585 590 1615 610
rect 1635 590 1645 610
rect 1555 580 1645 590
rect 1695 610 1735 620
rect 1695 590 1705 610
rect 1725 590 1735 610
rect 1695 580 1735 590
rect 1255 -30 1265 545
rect 1285 -30 1295 545
rect 1255 -40 1295 -30
rect 1355 545 1495 550
rect 1355 -30 1365 545
rect 1385 -30 1415 545
rect 1435 -30 1465 545
rect 1485 -30 1495 545
rect 1355 -55 1495 -30
rect 1555 545 1595 580
rect 1555 -30 1565 545
rect 1585 -30 1595 545
rect 1555 -40 1595 -30
rect 1655 545 1695 550
rect 1655 -30 1665 545
rect 1685 -30 1695 545
rect 1655 -40 1695 -30
rect 1755 545 1795 745
rect 2255 720 2295 745
rect 2255 700 2265 720
rect 2285 700 2295 720
rect 1815 610 1855 620
rect 1815 590 1825 610
rect 1845 590 1855 610
rect 1815 580 1855 590
rect 1905 610 1995 620
rect 1905 590 1915 610
rect 1935 590 1965 610
rect 1985 590 1995 610
rect 1905 580 1995 590
rect 1755 -30 1765 545
rect 1785 -30 1795 545
rect 1755 -40 1795 -30
rect 1855 545 1895 550
rect 1855 -30 1865 545
rect 1885 -30 1895 545
rect 1855 -40 1895 -30
rect 1955 545 1995 580
rect 1955 -30 1965 545
rect 1985 -30 1995 545
rect 1955 -40 1995 -30
rect 2055 545 2195 550
rect 2055 -30 2065 545
rect 2085 -30 2115 545
rect 2135 -30 2165 545
rect 2185 -30 2195 545
rect 2055 -55 2195 -30
rect 2255 545 2295 700
rect 2315 610 2355 620
rect 2315 590 2325 610
rect 2345 590 2355 610
rect 2315 580 2355 590
rect 2405 610 2445 620
rect 2405 590 2415 610
rect 2435 590 2445 610
rect 2405 580 2445 590
rect 2505 610 2545 620
rect 2505 590 2515 610
rect 2535 590 2545 610
rect 2505 580 2545 590
rect 2605 610 2645 620
rect 2605 590 2615 610
rect 2635 590 2645 610
rect 2605 580 2645 590
rect 2705 610 2745 620
rect 2705 590 2715 610
rect 2735 590 2745 610
rect 2705 580 2745 590
rect 2795 610 2835 620
rect 2795 590 2805 610
rect 2825 590 2835 610
rect 2795 580 2835 590
rect 2255 -30 2265 545
rect 2285 -30 2295 545
rect 2255 -40 2295 -30
rect 2355 545 2395 550
rect 2355 -30 2365 545
rect 2385 -30 2395 545
rect 2355 -40 2395 -30
rect 2455 545 2495 550
rect 2455 -30 2465 545
rect 2485 -30 2495 545
rect 2455 -40 2495 -30
rect 2555 545 2595 550
rect 2555 -30 2565 545
rect 2585 -30 2595 545
rect 2555 -40 2595 -30
rect 2655 545 2695 550
rect 2655 -30 2665 545
rect 2685 -30 2695 545
rect 2655 -40 2695 -30
rect 2755 545 2795 550
rect 2755 -30 2765 545
rect 2785 -30 2795 545
rect 2755 -40 2795 -30
rect 2855 545 2895 745
rect 2955 620 2995 825
rect 3055 1400 3095 1405
rect 3055 825 3065 1400
rect 3085 825 3095 1400
rect 3055 815 3095 825
rect 3155 1400 3195 1405
rect 3155 825 3165 1400
rect 3185 825 3195 1400
rect 3155 815 3195 825
rect 3255 1400 3295 1405
rect 3255 825 3265 1400
rect 3285 825 3295 1400
rect 3255 815 3295 825
rect 3355 1400 3395 1405
rect 3355 825 3365 1400
rect 3385 825 3395 1400
rect 3355 815 3395 825
rect 3455 1400 3495 1405
rect 3455 825 3465 1400
rect 3485 825 3495 1400
rect 3455 815 3495 825
rect 3555 1400 3595 1405
rect 3555 825 3565 1400
rect 3585 825 3595 1400
rect 3015 775 3055 785
rect 3015 755 3025 775
rect 3045 755 3055 775
rect 3015 745 3055 755
rect 3105 775 3145 785
rect 3105 755 3115 775
rect 3135 755 3145 775
rect 3105 745 3145 755
rect 3205 775 3245 785
rect 3205 755 3215 775
rect 3235 755 3245 775
rect 3205 745 3245 755
rect 3305 775 3345 785
rect 3305 755 3315 775
rect 3335 755 3345 775
rect 3305 745 3345 755
rect 3405 775 3445 785
rect 3405 755 3415 775
rect 3435 755 3445 775
rect 3405 745 3445 755
rect 3495 775 3535 785
rect 3495 755 3505 775
rect 3525 755 3535 775
rect 3495 745 3535 755
rect 3555 665 3595 825
rect 3655 1400 3745 1405
rect 3655 825 3665 1400
rect 3685 825 3715 1400
rect 3735 825 3745 1400
rect 3655 815 3745 825
rect 3655 775 3695 815
rect 3655 755 3665 775
rect 3685 755 3695 775
rect 3655 745 3695 755
rect 3555 645 3565 665
rect 3585 645 3595 665
rect 2955 610 3445 620
rect 3555 615 3595 645
rect 2955 590 3015 610
rect 3035 590 3115 610
rect 3135 590 3215 610
rect 3235 590 3315 610
rect 3335 590 3415 610
rect 3435 590 3445 610
rect 2955 580 3445 590
rect 3505 605 3595 615
rect 3505 585 3515 605
rect 3535 585 3595 605
rect 2855 -30 2865 545
rect 2885 -30 2895 545
rect 2855 -40 2895 -30
rect 2955 545 2995 550
rect 2955 -30 2965 545
rect 2985 -30 2995 545
rect 2955 -55 2995 -30
rect 555 -65 645 -55
rect 555 -85 615 -65
rect 635 -85 645 -65
rect 555 -95 645 -85
rect 1305 -65 1545 -55
rect 1305 -85 1315 -65
rect 1335 -85 1515 -65
rect 1535 -85 1545 -65
rect 1305 -95 1545 -85
rect 2005 -65 2245 -55
rect 2005 -85 2015 -65
rect 2035 -85 2215 -65
rect 2235 -85 2245 -65
rect 2005 -95 2245 -85
rect 2905 -65 2995 -55
rect 2905 -85 2915 -65
rect 2935 -85 2995 -65
rect 2905 -95 2995 -85
rect 3055 545 3095 550
rect 3055 -30 3065 545
rect 3085 -30 3095 545
rect 3055 -60 3095 -30
rect 3155 545 3195 580
rect 3155 -30 3165 545
rect 3185 -30 3195 545
rect 3155 -40 3195 -30
rect 3255 545 3295 550
rect 3255 -30 3265 545
rect 3285 -30 3295 545
rect 3255 -60 3295 -30
rect 3355 545 3395 580
rect 3505 575 3595 585
rect 3355 -30 3365 545
rect 3385 -30 3395 545
rect 3355 -40 3395 -30
rect 3455 545 3495 550
rect 3455 -30 3465 545
rect 3485 -30 3495 545
rect 3455 -60 3495 -30
rect 3555 545 3595 575
rect 3555 -30 3565 545
rect 3585 -30 3595 545
rect 3555 -40 3595 -30
rect 3655 545 3745 550
rect 3655 -30 3665 545
rect 3685 -30 3715 545
rect 3735 -30 3745 545
rect 3655 -40 3745 -30
rect 3655 -55 3700 -40
rect 3055 -100 3495 -60
rect 3605 -65 3700 -55
rect 3605 -85 3615 -65
rect 3635 -85 3700 -65
rect 3605 -95 3700 -85
<< viali >>
rect -185 825 -165 1400
rect -135 825 -115 1400
rect 65 825 85 1400
rect 25 755 45 775
rect 115 755 135 775
rect 215 755 235 775
rect 315 755 335 775
rect 415 755 435 775
rect 505 755 525 775
rect -35 645 -15 665
rect 665 825 685 1400
rect 1365 825 1385 1400
rect 1415 825 1435 1400
rect 1465 825 1485 1400
rect 1565 825 1585 1400
rect 1665 825 1685 1400
rect 1865 825 1885 1400
rect 1965 825 1985 1400
rect 2065 825 2085 1400
rect 2115 825 2135 1400
rect 2165 825 2185 1400
rect 2865 825 2885 1400
rect 1715 755 1735 775
rect 1815 755 1835 775
rect -185 -30 -165 545
rect -135 -30 -115 545
rect 565 -30 585 545
rect 1265 700 1285 720
rect 725 590 745 610
rect 815 590 835 610
rect 915 590 935 610
rect 1015 590 1035 610
rect 1115 590 1135 610
rect 1205 590 1225 610
rect 1165 -30 1185 545
rect 1565 590 1585 610
rect 1615 590 1635 610
rect 1705 590 1725 610
rect 1365 -30 1385 545
rect 1415 -30 1435 545
rect 1465 -30 1485 545
rect 1665 -30 1685 545
rect 2265 700 2285 720
rect 1825 590 1845 610
rect 1915 590 1935 610
rect 1965 590 1985 610
rect 1865 -30 1885 545
rect 2065 -30 2085 545
rect 2115 -30 2135 545
rect 2165 -30 2185 545
rect 2325 590 2345 610
rect 2415 590 2435 610
rect 2515 590 2535 610
rect 2615 590 2635 610
rect 2715 590 2735 610
rect 2805 590 2825 610
rect 2365 -30 2385 545
rect 3465 825 3485 1400
rect 3025 755 3045 775
rect 3115 755 3135 775
rect 3215 755 3235 775
rect 3315 755 3335 775
rect 3415 755 3435 775
rect 3505 755 3525 775
rect 3665 825 3685 1400
rect 3715 825 3735 1400
rect 3565 645 3585 665
rect 2965 -30 2985 545
rect 3665 -30 3685 545
rect 3715 -30 3735 545
<< metal1 >>
rect -220 1400 3770 1410
rect -220 825 -185 1400
rect -165 825 -135 1400
rect -115 825 65 1400
rect 85 825 665 1400
rect 685 825 1365 1400
rect 1385 825 1415 1400
rect 1435 825 1465 1400
rect 1485 825 1565 1400
rect 1585 825 1665 1400
rect 1685 825 1865 1400
rect 1885 825 1965 1400
rect 1985 825 2065 1400
rect 2085 825 2115 1400
rect 2135 825 2165 1400
rect 2185 825 2865 1400
rect 2885 825 3465 1400
rect 3485 825 3665 1400
rect 3685 825 3715 1400
rect 3735 825 3770 1400
rect -220 815 3770 825
rect -220 775 3770 785
rect -220 755 25 775
rect 45 755 115 775
rect 135 755 215 775
rect 235 755 315 775
rect 335 755 415 775
rect 435 755 505 775
rect 525 755 1715 775
rect 1735 755 1815 775
rect 1835 755 3025 775
rect 3045 755 3115 775
rect 3135 755 3215 775
rect 3235 755 3315 775
rect 3335 755 3415 775
rect 3435 755 3505 775
rect 3525 755 3770 775
rect -220 745 3770 755
rect -220 720 3770 730
rect -220 700 1265 720
rect 1285 700 2265 720
rect 2285 700 3770 720
rect -220 690 3770 700
rect -220 665 3770 675
rect -220 645 -35 665
rect -15 645 3565 665
rect 3585 645 3770 665
rect -220 635 3770 645
rect -220 610 3770 620
rect -220 590 725 610
rect 745 590 815 610
rect 835 590 915 610
rect 935 590 1015 610
rect 1035 590 1115 610
rect 1135 590 1205 610
rect 1225 590 1565 610
rect 1585 590 1615 610
rect 1635 590 1705 610
rect 1725 590 1825 610
rect 1845 590 1915 610
rect 1935 590 1965 610
rect 1985 590 2325 610
rect 2345 590 2415 610
rect 2435 590 2515 610
rect 2535 590 2615 610
rect 2635 590 2715 610
rect 2735 590 2805 610
rect 2825 590 3770 610
rect -220 580 3770 590
rect -220 545 3770 550
rect -220 -30 -185 545
rect -165 -30 -135 545
rect -115 -30 565 545
rect 585 -30 1165 545
rect 1185 -30 1365 545
rect 1385 -30 1415 545
rect 1435 -30 1465 545
rect 1485 -30 1665 545
rect 1685 -30 1865 545
rect 1885 -30 2065 545
rect 2085 -30 2115 545
rect 2135 -30 2165 545
rect 2185 -30 2365 545
rect 2385 -30 2965 545
rect 2985 -30 3665 545
rect 3685 -30 3715 545
rect 3735 -30 3770 545
rect -220 -40 3770 -30
<< labels >>
rlabel metal1 -220 815 -200 1410 7 VDD
rlabel metal1 -220 745 -180 785 7 vbp
rlabel metal1 -220 690 -180 730 7 vcp
rlabel metal1 -220 635 -180 675 7 vcn
rlabel metal1 -220 580 -180 620 7 vbn
rlabel metal1 -220 -40 -200 550 7 GND
rlabel metal1 3750 815 3770 1410 3 VDD
rlabel metal1 3730 745 3770 785 3 vbp
rlabel metal1 3730 690 3770 730 3 vcp
rlabel metal1 3730 635 3770 675 3 vcn
rlabel metal1 3730 580 3770 620 3 vbn
rlabel metal1 3750 -40 3770 550 3 GND
rlabel locali 165 825 185 1400 1 net13
rlabel locali 265 825 285 1400 1 net14
rlabel locali 365 825 385 1400 1 net15
rlabel locali 465 825 485 1400 1 net24
rlabel locali 565 825 585 1400 1 net17
rlabel locali 765 825 785 1400 1 net1
rlabel locali 865 825 885 1400 1 net2
rlabel locali 765 -30 785 545 1 net6
rlabel locali 865 -30 885 545 1 net5
rlabel locali 965 -30 985 545 1 net4
rlabel locali 1065 -30 1085 545 1 net3
<< end >>
